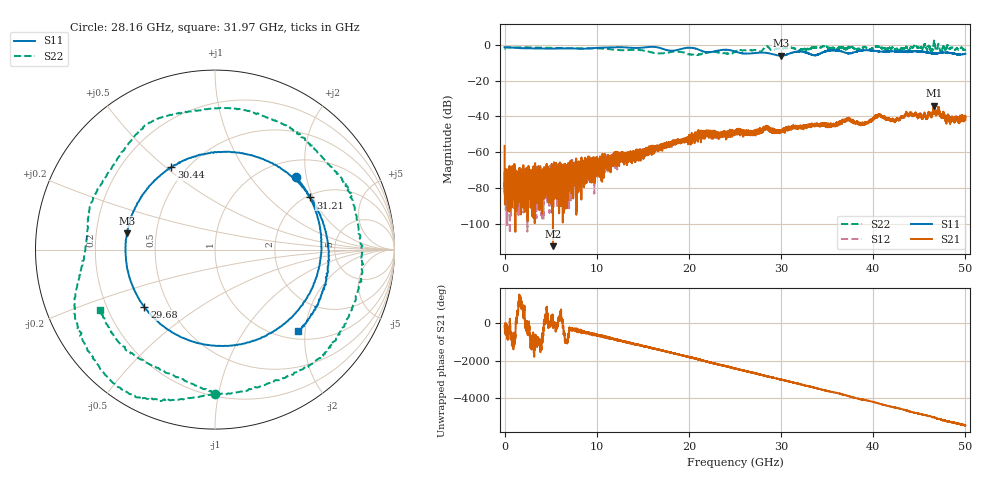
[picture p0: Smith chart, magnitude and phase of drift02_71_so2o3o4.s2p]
!Created with skrf (http://scikit-rf.org).
# Hz S RI R 50.0
!freq ReS11 ImS11 ReS21 ImS21 ReS12 ImS12 ReS22 ImS22
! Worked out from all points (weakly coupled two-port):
!   10001 points, 300 kHz to 50 GHz, reference 50 ohm
!   highest |S21| = -33.90 dB at 46.6 GHz (marker M1); lowest = -112.5 dB at 5.245 GHz (marker M2)
!   lowest |S11| = -6.1 dB at 30.05 GHz (marker M3), VSWR 2.97, Z = 17 + j4.1 ohm
!   |S11| at or under -10 dB: nowhere
!   |S22| runs from -5.7 to 2.5 dB; largest |S21 - S12| = 0.0031
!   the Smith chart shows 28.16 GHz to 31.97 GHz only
!   S11 on the Smith chart (normalised r, x): 28.16 GHz: 1.35, +1.74; 29.68 GHz: 0.36, -0.31; 30.44 GHz: 0.41, +0.53; 31.21 GHz: 2.08, +1.91; 31.97 GHz: 1.18, -1.84
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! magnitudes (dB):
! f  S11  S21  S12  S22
! 300 kHz  -1.3  -56.5  -70.4  -2.1
! 255.3 MHz  -1.4  -77.4  -78.0  -1.4
! 5.245 GHz  -2.1  -112.5  -72.9  -1.6
! 8.335 GHz  -2.2  -73.8  -72.1  -1.9
! 16.67 GHz  -1.5  -57.2  -56.2  -4.7
! 21.72 GHz  -3.9  -49.6  -49.5  -4.6
! 25 GHz  -3.7  -49.2  -48.7  -3.9
! 28.16 GHz  -4.3  -47.1  -46.8  -1.9
! 29.68 GHz  -5.9  -48.4  -48.5  -2.1
! 30.05 GHz  -6.1  -47.9  -48.7  -2.0
! 30.44 GHz  -5.6  -46.7  -47.1  -1.7
! 31.21 GHz  -4.4  -46.7  -46.5  -1.8
! 31.97 GHz  -3.8  -45.9  -46.4  -2.8
! 33.34 GHz  -5.5  -45.7  -44.7  -1.5
! 35.58 GHz  -3.0  -44.7  -45.0  -1.6
! 37.28 GHz  -4.7  -41.1  -41.3  -1.4
! 38.84 GHz  -3.0  -43.7  -44.3  -1.2
! 40.57 GHz  -3.6  -39.2  -39.3  -1.0
! 41.67 GHz  -3.6  -40.9  -41.4  -1.9
! 46.6 GHz  -4.6  -33.9  -34.2  2.1
! 48.54 GHz  -4.7  -40.5  -40.4  -1.6
! 50 GHz  -4.9  -42.0  -39.5  -2.7
